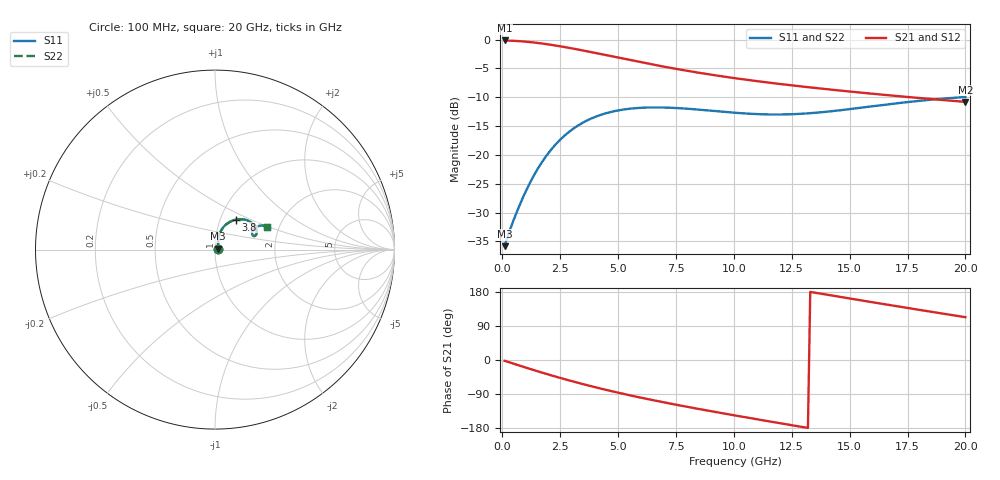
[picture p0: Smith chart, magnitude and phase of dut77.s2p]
! Touchstone file exported from HFSS 2024.1.0
!  File:  C:/UserFiles/LocalFiles/RDL_TSV_Batchsim/temp_RDL_TSV_77_1779413232.aedt
!  Generated:  09:45:35 AM May 22, 2026
!  Design:  RDL_TSV
!  Project:  temp_RDL_TSV_77_1779413232
!  Setup:  Setup1
!  Solution:  Sweep
! Variables:
!  dtsv = 6.41um
!  hbump = 3um
!  htsv = 84.01um
!  ldown = 584.44um
!  lrdl = 475.33um
!  p = 40
!  p1 = 52.18um
!  rhole = 10um
!  subl = 3654.64um
!  t = 450um
!  tdown = 4.76um
!  trdl = 3.73um
!  viad = 10um
!  wdown = 18.25um
!  wrdl = 29.33um
!  xbump = 18um
# GHz S MA R 50.000000
! Terminal data exported
! Port[1] = TM1_1_T1
! Port[2] = TM1_4_T1
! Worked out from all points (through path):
!   200 points, 100 MHz to 20 GHz, reference 50 ohm
!   highest |S21| = -0.14 dB at 100 MHz (marker M1); lowest = -10.8 dB at 20 GHz (marker M2)
!   group delay of S21, straight-line fit = 32.5 ps
!   lowest |S11| = -35.8 dB at 100 MHz (marker M3), VSWR 1.03, Z = 51.5 + j0.533 ohm
!   |S11| at or under -10 dB: start of sweep to 19.81 GHz
!   |S22| runs from -35.8 to -10.0 dB; largest |S21 - S12| = 2.2e-14
!   S11 on the Smith chart (normalised r, x): 100 MHz: 1.03, +0.01; 3.8 GHz: 1.19, +0.42; 20 GHz: 1.74, +0.49
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0.1  0.01613 18.7  0.9845 -2.1  0.9845 -2.1  0.01614 18.7
! Gamma 0 0 0 0
! Port Impedance 50 0 50 0
0.4  0.02439 46.2  0.9792 -8.1  0.9792 -8.1  0.0244 46.2
0.8  0.03872 64.1  0.9685 -15.9  0.9685 -15.9  0.03872 64.0
1.2  0.05756 71.9  0.9528 -23.6  0.9528 -23.6  0.0575 71.8
1.6  0.07986 74.1  0.9327 -31.1  0.9327 -31.1  0.07971 73.9
2  0.1043 73.0  0.9092 -38.5  0.9092 -38.5  0.104 72.9
2.5  0.1355 69.2  0.8763 -47.3  0.8763 -47.3  0.135 69.0
3  0.1651 64.0  0.841 -55.8  0.841 -55.8  0.1645 63.9
3.5  0.1914 58.3  0.8048 -63.9  0.8048 -63.9  0.1906 58.2
3.8  0.2051 54.8  0.7829 -68.6  0.7829 -68.6  0.2042 54.7
4.5  0.2305 47.1  0.733 -79.1  0.733 -79.1  0.2294 46.9
5.3  0.2486 39.1  0.6792 -90.3  0.6792 -90.3  0.2474 39.0
6  0.2564 33.2  0.6362 -99.6  0.6362 -99.6  0.255 33.1
6.8  0.2581 27.7  0.5922 -109.6  0.5922 -109.6  0.2566 27.6
8.3  0.2488 21.0  0.5238 -127.1  0.5238 -127.1  0.2472 21.0
10.1  0.2318 19.1  0.4616 -146.9  0.4616 -146.9  0.2301 19.1
11.7  0.2242 21.7  0.4193 -163.8  0.4193 -163.8  0.2227 21.8
13.4  0.231 25.8  0.3832 178.7  0.3832 178.7  0.2297 26.0
15.1  0.2509 28.5  0.3532 161.3  0.3532 161.3  0.2499 28.7
16.7  0.2752 28.5  0.329 145.3  0.329 145.3  0.2743 28.7
18.3  0.2985 26.6  0.3079 129.5  0.3079 129.5  0.2976 26.7
20  0.318 23.3  0.2887 113.0  0.2887 113.0  0.3171 23.4
